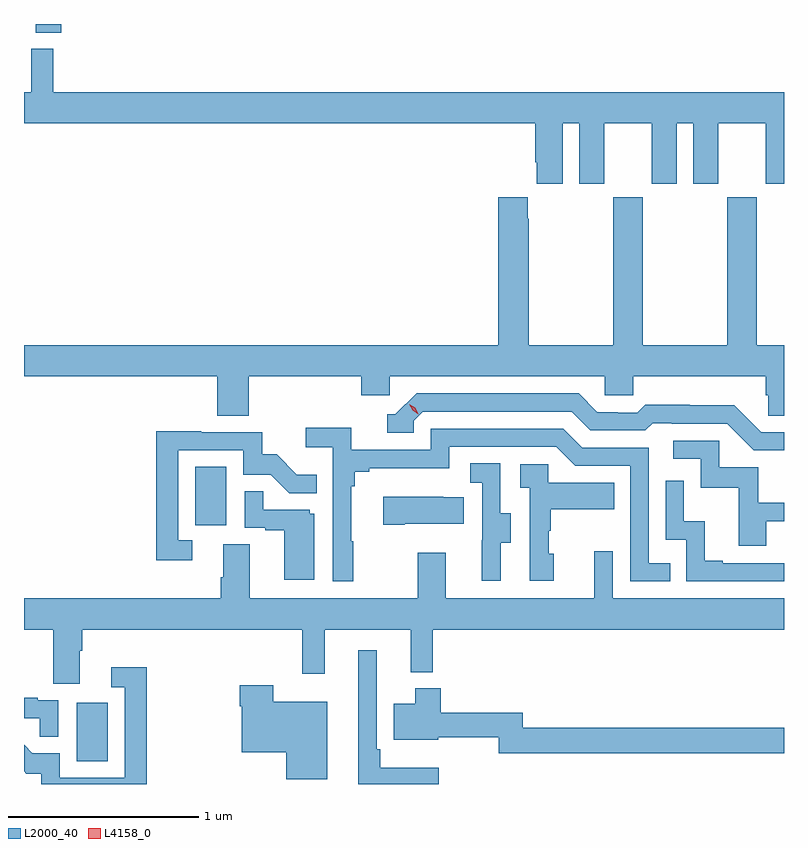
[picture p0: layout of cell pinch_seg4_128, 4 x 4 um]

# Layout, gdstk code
import gdstk
lib = gdstk.Library(unit=1e-6, precision=1e-09)
def R(c, l, rs):  # rectangles x0, y0, x1, y1
    for r in rs: c.add(gdstk.rectangle(r[:2], r[2:], *l))
def P(c, l, *ps):  # polygons
    for p in ps: c.add(gdstk.Polygon(p, *l))
L2000_40 = (2000, 40)
L4158_0 = (4158, 0)

pinch_seg4_128 = lib.new_cell('pinch_seg4_128')
R(pinch_seg4_128, L2000_40, [(1044.704,802.788,1044.868,803.095), (1045.328,804.03,1045.492,804.337), (1044.488,806.621,1044.623,806.667)])
P(pinch_seg4_128, L2000_40, [(1047.262,806.144),(1047.35,806.144),(1047.35,805.827),(1047.481,805.827),(1047.481,806.144),(1047.731,806.144),(1047.731,805.827),(1047.862,805.827),(1047.862,806.144),(1047.95,806.144),(1047.95,805.827),(1048.081,805.827),(1048.081,806.144),(1048.331,806.144),(1048.331,805.827),(1048.427,805.827),(1048.427,806.308),(1044.581,806.308),(1044.581,806.536),(1044.464,806.536),(1044.464,806.308),(1044.427,806.308),(1044.427,806.144),(1047.119,806.144),(1047.119,805.939),(1047.125,805.939),(1047.125,805.827),(1047.262,805.827)],
  [(1045.61,804.812),(1046.201,804.812),(1046.201,804.714),(1046.352,804.714),(1046.352,804.812),(1047.483,804.812),(1047.483,804.714),(1047.633,804.714),(1047.633,804.812),(1048.331,804.812),(1048.331,804.714),(1048.345,804.714),(1048.345,804.604),(1048.427,804.604),(1048.427,804.976),(1048.284,804.976),(1048.284,805.756),(1048.129,805.756),(1048.129,804.976),(1047.684,804.976),(1047.684,805.756),(1047.529,805.756),(1047.529,804.976),(1047.084,804.976),(1047.084,805.643),(1047.079,805.643),(1047.079,805.756),(1046.924,805.756),(1046.924,804.976),(1044.427,804.976),(1044.427,804.812),(1045.445,804.812),(1045.445,804.604),(1045.61,804.604)],
  [(1048.427,804.519),(1048.308,804.519),(1048.166,804.661),(1047.93,804.661),(1047.93,804.664),(1047.697,804.664),(1047.655,804.621),(1047.552,804.621),(1047.552,804.624),(1047.445,804.624),(1047.346,804.723),(1046.493,804.723),(1046.382,804.612),(1046.339,804.612),(1046.339,804.516),(1046.478,804.516),(1046.478,804.579),(1046.526,804.627),(1047.309,804.627),(1047.408,804.528),(1047.697,804.528),(1047.736,804.567),(1047.835,804.567),(1047.835,804.564),(1048.128,804.564),(1048.269,804.423),(1048.427,804.423)],
  [(1046.161,803.945),(1046.149,803.945),(1046.149,804.233),(1046.168,804.233),(1046.168,804.31),(1046.245,804.31),(1046.245,804.329),(1046.664,804.329),(1046.664,804.441),(1047.228,804.441),(1047.327,804.342),(1047.618,804.342),(1047.618,803.733),(1047.827,803.733),(1047.827,803.829),(1047.714,803.829),(1047.714,804.438),(1047.364,804.438),(1047.265,804.537),(1046.568,804.537),(1046.568,804.426),(1046.15,804.426),(1046.15,804.542),(1045.911,804.542),(1045.911,804.44),(1046.052,804.44),(1046.052,803.733),(1046.161,803.733)],
  [(1045.312,803.949),(1045.239,803.949),(1045.239,804.423),(1045.581,804.423),(1045.581,804.294),(1045.725,804.294),(1045.823,804.196),(1045.967,804.196),(1045.967,804.295),(1045.863,804.295),(1045.756,804.402),(1045.68,804.402),(1045.68,804.519),(1045.361,804.519),(1045.361,804.524),(1045.123,804.524),(1045.123,803.844),(1045.312,803.844)],
  [(1048.333,804.051),(1048.427,804.051),(1048.427,804.147),(1048.291,804.147),(1048.291,804.333),(1048.086,804.333),(1048.086,804.474),(1047.843,804.474),(1047.843,804.378),(1047.99,804.378),(1047.99,804.225),(1048.189,804.225),(1048.189,803.922),(1048.333,803.922)],
  [(1046.935,803.938),(1046.989,803.938),(1046.989,804.093),(1046.934,804.093),(1046.934,804.356),(1046.775,804.356),(1046.775,804.253),(1046.838,804.253),(1046.838,803.949),(1046.837,803.949),(1046.837,803.736),(1046.935,803.736)],
  [(1047.214,803.88),(1047.189,803.88),(1047.189,803.999),(1047.199,803.999),(1047.199,804.113),(1047.533,804.113),(1047.533,804.253),(1047.186,804.253),(1047.186,804.351),(1047.039,804.351),(1047.039,804.227),(1047.09,804.227),(1047.09,803.736),(1047.214,803.736)],
  [(1048.427,803.829),(1048.105,803.829),(1048.105,803.842),(1048.01,803.842),(1048.01,804.05),(1047.9,804.05),(1047.9,804.262),(1047.804,804.262),(1047.804,803.952),(1047.912,803.952),(1047.912,803.733),(1048.427,803.733)],
  [(1045.954,804.09),(1045.932,804.09),(1045.932,804.111),(1045.685,804.111),(1045.685,804.209),(1045.59,804.209),(1045.59,804.015),(1045.697,804.015),(1045.697,804.003),(1045.796,804.003),(1045.796,803.742),(1045.954,803.742)],
  [(1046.431,804.038),(1046.741,804.038),(1046.741,804.175),(1046.633,804.175),(1046.633,804.178),(1046.319,804.178),(1046.319,804.031),(1046.431,804.031)],
  [(1044.721,803.368),(1044.734,803.368),(1044.734,803.48),(1045.891,803.48),(1045.891,803.247),(1046.009,803.247),(1046.009,803.48),(1046.462,803.48),(1046.462,803.255),(1046.579,803.255),(1046.579,803.48),(1048.427,803.48),(1048.427,803.644),(1047.525,803.644),(1047.525,803.893),(1047.428,803.893),(1047.428,803.644),(1046.647,803.644),(1046.647,803.884),(1046.5,803.884),(1046.5,803.644),(1045.615,803.644),(1045.615,803.93),(1045.475,803.93),(1045.475,803.756),(1045.463,803.756),(1045.463,803.644),(1044.427,803.644),(1044.427,803.48),(1044.581,803.48),(1044.581,803.194),(1044.721,803.194)],
  [(1046.611,802.753),(1046.303,802.753),(1046.303,802.849),(1046.283,802.849),(1046.283,803.371),(1046.186,803.371),(1046.186,802.667),(1046.611,802.667)],
  [(1045.073,803.281),(1044.885,803.281),(1044.885,803.175),(1044.957,803.175),(1044.957,802.701),(1044.615,802.701),(1044.615,802.83),(1044.471,802.83),(1044.427,802.874),(1044.427,802.735),(1044.44,802.722),(1044.517,802.722),(1044.517,802.667),(1045.073,802.667)],
  [(1046.023,803.101),(1045.74,803.101),(1045.74,803.188),(1045.562,803.188),(1045.562,803.075),(1045.574,803.075),(1045.574,802.835),(1045.808,802.835),(1045.808,802.691),(1046.023,802.691)],
  [(1048.427,802.964),(1047.053,802.964),(1047.053,803.041),(1046.621,803.041),(1046.621,803.17),(1046.486,803.17),(1046.486,803.089),(1046.372,803.089),(1046.372,802.901),(1046.608,802.901),(1046.608,802.912),(1046.925,802.912),(1046.925,802.828),(1048.427,802.828)],
  [(1044.606,803.109),(1044.5,803.109),(1044.5,803.122),(1044.427,803.122),(1044.427,803.013),(1044.511,803.013),(1044.511,802.915),(1044.606,802.915)])
P(pinch_seg4_128, L4158_0, [(1046.502,804.613),(1046.472,804.633),(1046.455,804.665),(1046.455,804.666),(1046.455,804.666),(1046.486,804.646),(1046.503,804.614),(1046.503,804.613)])

lib.write_gds('pinch_seg4_128.gds')
